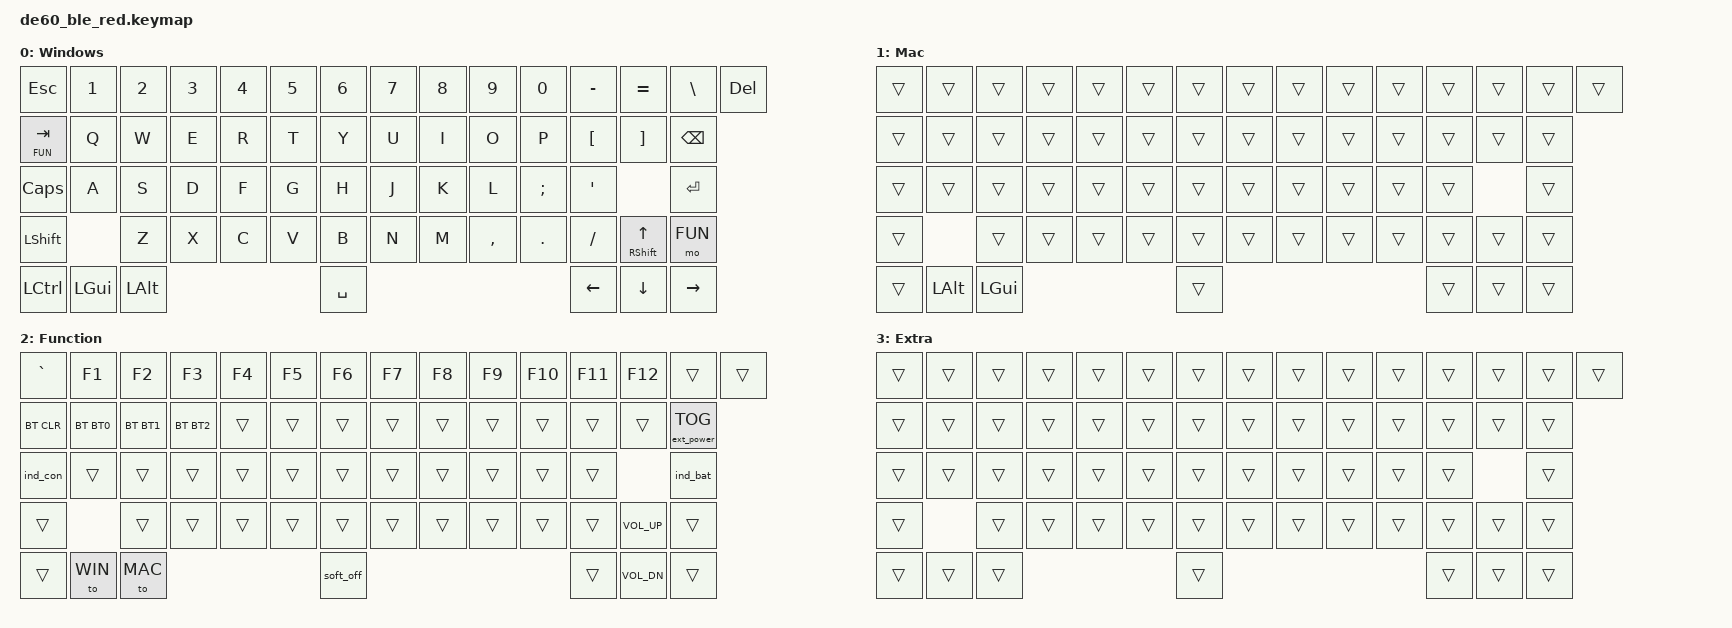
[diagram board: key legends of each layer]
/*
 * Copyright (c) 2025 Deemen17 Works
 *
 * SPDX-License-Identifier: MIT
 */

#include <behaviors.dtsi>
#include <dt-bindings/zmk/keys.h>
#include <dt-bindings/zmk/bt.h>
#include <dt-bindings/zmk/ext_power.h>

#include <behaviors/rgbled_widget.dtsi>

#define BT0 BT_SEL 0
#define BT1 BT_SEL 1
#define BT2 BT_SEL 2

#define WIN 0
#define MAC 1
#define FUN 2
#define EXT 3

//
// ---------- DE60 RED key switch positions ----------
//
// -------------------------------------------------------------------------------------------
// |  0  |  1  |  2  |  3  |  4  |  5  |  6  |  7  |  8  |  9  | 10  | 11  | 12  | 13  | 14  | 
// -------------------------------------------------------------------------------------------
// |   15   | 16  | 17  | 18  | 19  | 20  | 21  |  22 |  23 |  24 |  25 |  26 |  27 |   28   | 
// -------------------------------------------------------------------------------------------
// |    29    | 30  | 31  | 32  | 33  | 34  | 35  |  36 |  37 |  38 |  39 |  40 |     41     |  
// -------------------------------------------------------------------------------------------
// |     42     |  43 | 44  | 45  | 46  | 47  |  48 |  49 |  50 |  51 |  52 |    53    |  54 |
// -------------------------------------------------------------------------------------------
// |   55   |  56  |   57   |                   58                  |   59   |  60  |   61   |  
// -------------------------------------------------------------------------------------------
//

&mt {
    tapping-term-ms = <200>; // This is the value already set by default
};

&soft_off {
    hold-time-ms = <2000>; // Only turn off it the key is held for 3 seconds or longer.
};

/ {
    // combos {
    //     compatible = "zmk,combos";

    //     // ESC + 1 + 2 = &sys_reset
    //     combo_sys_reset {
    //         timeout-ms = <100>;
    //         key-positions = <0 1 2>;
    //         bindings = <&sys_reset>;
    //     };

    //     // 1 + 2 + 3 = &bootloader
    //     combo_bootloader {
    //         timeout-ms = <100>;
    //         key-positions = <1 2 3>;
    //         bindings = <&bootloader>;
    //     };

    //     // ESC + 1 = &bt BT0
    //     combo_bt0 {
    //         timeout-ms = <100>;
    //         key-positions = <0 1>;
    //         bindings = <&bt BT0 &ind_con>;
    //     };

    //     // ESC + 2 = &bt BT1
    //     combo_bt1 {
    //         timeout-ms = <100>;
    //         key-positions = <0 2>;
    //         bindings = <&bt BT1 &ind_con>;
    //     };

    //     // ESC + 3 = &bt BT2
    //     combo_bt2 {
    //         timeout-ms = <100>;
    //         key-positions = <0 3>;
    //         bindings = <&bt BT2 &ind_con>;
    //     };

    //     // ESC + TAB = &bt BT_CLR
    //     combo_bt_clr {
    //         timeout-ms = <100>;
    //         key-positions = <0 15>;
    //         bindings = <&bt BT_CLR &ind_con>;
    //     };
    // };

    keymap {
        compatible = "zmk,keymap";

        base {
            label = "Windows";
            bindings = <
&kp ESC   &kp N1   &kp N2  &kp N3  &kp N4  &kp N5  &kp N6  &kp N7  &kp N8  &kp N9    &kp N0   &kp MINUS &kp EQUAL &kp BSLH  &kp DEL 
&lt FUN TAB   &kp Q    &kp W   &kp E   &kp R   &kp T   &kp Y   &kp U   &kp I   &kp O     &kp P    &kp LBKT  &kp RBKT  &kp BSPC  
&kp CLCK  &kp A    &kp S   &kp D   &kp F   &kp G   &kp H   &kp J   &kp K   &kp L     &kp SEMI &kp SQT             &kp ENTER 
&kp LSHFT          &kp Z   &kp X   &kp C   &kp V   &kp B   &kp N   &kp M   &kp COMMA &kp DOT  &kp FSLH  &mt RSHFT UP &mo FUN
&kp LCTRL &kp LGUI &kp LALT                        &kp SPACE                                  &kp LEFT  &kp DOWN  &kp RIGHT
            >;
        };

        layer_1 {
            label = "Mac";
            bindings = < 
&trans  &trans   &trans  &trans &trans  &trans  &trans  &trans  &trans  &trans  &trans  &trans  &trans  &trans  &trans
&trans  &trans   &trans  &trans &trans  &trans  &trans  &trans  &trans  &trans  &trans  &trans  &trans  &trans
&trans  &trans   &trans  &trans &trans  &trans  &trans  &trans  &trans  &trans  &trans  &trans          &trans
&trans           &trans  &trans &trans  &trans  &trans  &trans  &trans  &trans  &trans  &trans  &trans  &trans
&trans  &kp LALT &kp LGUI                       &trans                                  &trans  &trans  &trans
            >;
        };

        layer_2 {
            label = "Function";
            bindings = <
&kp GRAVE  &kp F1  &kp F2  &kp F3  &kp F4  &kp F5  &kp F6  &kp F7  &kp F8  &kp F9  &kp F10 &kp F11 &kp F12 &trans &trans
&bt BT_CLR &bt BT0 &bt BT1 &bt BT2 &trans  &trans  &trans  &trans  &trans  &trans  &trans  &trans  &trans  &ext_power EP_TOG
&ind_con   &trans  &trans  &trans  &trans  &trans  &trans  &trans  &trans  &trans  &trans  &trans          &ind_bat       
&trans             &trans  &trans  &trans  &trans  &trans  &trans  &trans  &trans  &trans  &trans  &kp C_VOL_UP &trans 
&trans     &to WIN &to MAC                         &soft_off                               &trans  &kp C_VOL_DN &trans  
            >;
        };
        
        layer_3 {
            label = "Extra";
            bindings = < 
&trans  &trans  &trans  &trans &trans  &trans  &trans  &trans  &trans  &trans  &trans  &trans  &trans  &trans  &trans
&trans  &trans  &trans  &trans &trans  &trans  &trans  &trans  &trans  &trans  &trans  &trans  &trans  &trans
&trans  &trans  &trans  &trans &trans  &trans  &trans  &trans  &trans  &trans  &trans  &trans          &trans
&trans          &trans  &trans &trans  &trans  &trans  &trans  &trans  &trans  &trans  &trans  &trans  &trans
&trans  &trans  &trans                         &trans                                  &trans  &trans  &trans
            >;
        };
    };
};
